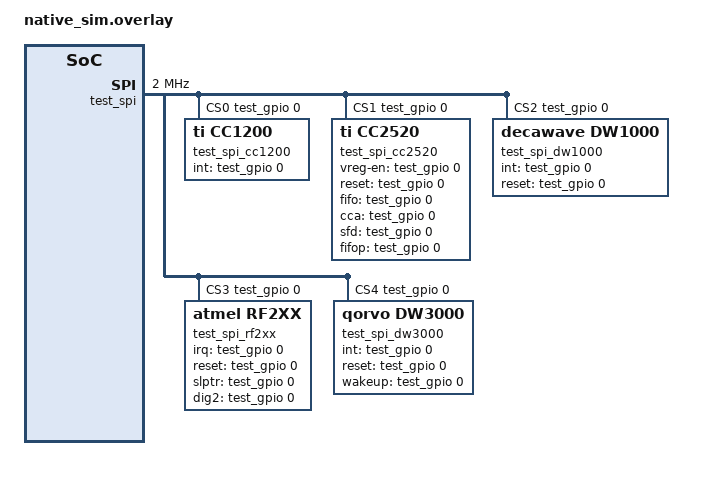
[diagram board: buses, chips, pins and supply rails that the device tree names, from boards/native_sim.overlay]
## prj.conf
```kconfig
CONFIG_TEST=y
CONFIG_TEST_USERSPACE=y
CONFIG_LOG=y
CONFIG_GPIO=y
CONFIG_SPI=y
CONFIG_IEEE802154=y

CONFIG_NETWORKING=y
CONFIG_NET_L2_IEEE802154=y
CONFIG_NET_L2_IEEE802154_SECURITY=y
```

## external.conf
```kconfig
CONFIG_IEEE802154_CC1200=y
CONFIG_IEEE802154_CC2520=y
CONFIG_IEEE802154_CC2520_CRYPTO=y
CONFIG_IEEE802154_DW1000=y
CONFIG_IEEE802154_RF2XX=y
```

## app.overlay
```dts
/*
 * Copyright (c) 2021, Commonwealth Scientific and Industrial Research
 * Organisation (CSIRO) ABN 41 687 119 230.
 *
 * SPDX-License-Identifier: Apache-2.0
 *
 * Application overlay for testing driver builds
 *
 * Names in this file should be chosen in a way that won't conflict
 * with real-world devicetree nodes, to allow these tests to run on
 * (and be extended to test) real hardware.
 */

/ {
	test {
		#address-cells = <1>;
		#size-cells = <1>;

		test_gpio: gpio@deadbeef {
			compatible = "vnd,gpio";
			gpio-controller;
			reg = <0xdeadbeef 0x1000>;
			#gpio-cells = <0x2>;
			status = "okay";
		};

		test_spi: spi@33334444 {
			#address-cells = <1>;
			#size-cells = <0>;
			compatible = "vnd,spi";
			reg = <0x33334444 0x1000>;
			status = "okay";
			clock-frequency = <2000000>;

			/* one entry for every devices at spi.dtsi */
			cs-gpios = <&test_gpio 0 0>,	/* 0x00 */
				   <&test_gpio 0 0>,
				   <&test_gpio 0 0>,
				   <&test_gpio 0 0>,
				   <&test_gpio 0 0>,
				   <&test_gpio 0 0>,
				   <&test_gpio 0 0>,
				   <&test_gpio 0 0>,
				   <&test_gpio 0 0>,
				   <&test_gpio 0 0>,
				   <&test_gpio 0 0>,
				   <&test_gpio 0 0>,
				   <&test_gpio 0 0>,
				   <&test_gpio 0 0>,
				   <&test_gpio 0 0>,
				   <&test_gpio 0 0>,
				   <&test_gpio 0 0>,	/* 0x10 */
				   <&test_gpio 0 0>,
				   <&test_gpio 0 0>,
				   <&test_gpio 0 0>,
				   <&test_gpio 0 0>,
				   <&test_gpio 0 0>,
				   <&test_gpio 0 0>,
				   <&test_gpio 0 0>,
				   <&test_gpio 0 0>,
				   <&test_gpio 0 0>,
				   <&test_gpio 0 0>,
				   <&test_gpio 0 0>,
				   <&test_gpio 0 0>,
				   <&test_gpio 0 0>,
				   <&test_gpio 0 0>,
				   <&test_gpio 0 0>,
				   <&test_gpio 0 0>,	/* 0x20 */
				   <&test_gpio 0 0>,
				   <&test_gpio 0 0>,
				   <&test_gpio 0 0>,
				   <&test_gpio 0 0>,
				   <&test_gpio 0 0>,
				   <&test_gpio 0 0>,
				   <&test_gpio 0 0>,
				   <&test_gpio 0 0>,
				   <&test_gpio 0 0>,
				   <&test_gpio 0 0>,
				   <&test_gpio 0 0>,
				   <&test_gpio 0 0>,
				   <&test_gpio 0 0>,
				   <&test_gpio 0 0>,
				   <&test_gpio 0 0>,
				   <&test_gpio 0 0>,	/* 0x30 */
				   <&test_gpio 0 0>,
				   <&test_gpio 0 0>,
				   <&test_gpio 0 0>,
				   <&test_gpio 0 0>,
				   <&test_gpio 0 0>,
				   <&test_gpio 0 0>,
				   <&test_gpio 0 0>,
				   <&test_gpio 0 0>,
				   <&test_gpio 0 0>,
				   <&test_gpio 0 0>,
				   <&test_gpio 0 0>,
				   <&test_gpio 0 0>,
				   <&test_gpio 0 0>,
				   <&test_gpio 0 0>,
				   <&test_gpio 0 0>,
				   <&test_gpio 0 0>;	/* 0x40 */

			#include "spi.dtsi"
		};
	};
};

/* Put device specific modifications to properties or disabling of devices
 * here to keep the bus specific dtsi files (i2c.dtsi, spi.dtsi, etc..)
 * pristine
 */
```

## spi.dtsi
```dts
/*
 * Copyright (c) 2021, Commonwealth Scientific and Industrial Research
 * Organisation (CSIRO) ABN 41 687 119 230.
 *
 * SPDX-License-Identifier: Apache-2.0
 *
 * Application overlay for spi devices
 */

test_spi_cc1200: cc1200@0 {
	compatible = "ti,cc1200";
	reg = <0x0>;
	spi-max-frequency = <0>;
	int-gpios = <&test_gpio 0 0>;
	status= "okay";
};

test_spi_cc2520: cc2520@1 {
	compatible = "ti,cc2520";
	reg = <0x1>;
	spi-max-frequency = <0>;
	vreg-en-gpios = <&test_gpio 0 0>;
	reset-gpios = <&test_gpio 0 0>;
	fifo-gpios = <&test_gpio 0 0>;
	cca-gpios = <&test_gpio 0 0>;
	sfd-gpios = <&test_gpio 0 0>;
	fifop-gpios = <&test_gpio 0 0>;
	status= "okay";
};

test_spi_dw1000: dw1000@2 {
	compatible = "decawave,dw1000";
	reg = <0x2>;
	spi-max-frequency = <0>;
	int-gpios = <&test_gpio 0 0>;
	reset-gpios =<&test_gpio 0 0>;
	status= "okay";
};

test_spi_rf2xx: rf2xx@4 {
	compatible = "atmel,rf2xx";
	reg = <0x4>;
	spi-max-frequency = <0>;
	irq-gpios = <&test_gpio 0 0>;
	reset-gpios = <&test_gpio 0 0>;
	slptr-gpios = <&test_gpio 0 0>;
	dig2-gpios = <&test_gpio 0 0>;
	status = "okay";
};
```

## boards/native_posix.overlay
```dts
/*
 * Copyright (c) 2021, Commonwealth Scientific and Industrial Research
 * Organisation (CSIRO) ABN 41 687 119 230.
 *
 * SPDX-License-Identifier: Apache-2.0
 */

/ {
	test {
		#address-cells = <1>;
		#size-cells = <1>;

		test_gpio: gpio@deadbeef {
			compatible = "vnd,gpio";
			gpio-controller;
			reg = <0xdeadbeef 0x1000>;
			#gpio-cells = <0x2>;
			status = "okay";
		};

		test_spi: spi@33334444 {
			#address-cells = <1>;
			#size-cells = <0>;
			compatible = "vnd,spi";
			reg = <0x33334444 0x1000>;
			status = "okay";
			clock-frequency = <2000000>;

			/* one entry for every SPI device */
			cs-gpios = <&test_gpio 0 0>,
				   <&test_gpio 0 0>,
				   <&test_gpio 0 0>,
				   <&test_gpio 0 0>;

			test_spi_cc1200: cc1200@0 {
				compatible = "ti,cc1200";
				reg = <0x0>;
				spi-max-frequency = <0>;
				int-gpios = <&test_gpio 0 0>;
				status= "okay";
			};

			test_spi_cc2520: cc2520@1 {
				compatible = "ti,cc2520";
				reg = <0x1>;
				spi-max-frequency = <0>;
				vreg-en-gpios = <&test_gpio 0 0>;
				reset-gpios = <&test_gpio 0 0>;
				fifo-gpios = <&test_gpio 0 0>;
				cca-gpios = <&test_gpio 0 0>;
				sfd-gpios = <&test_gpio 0 0>;
				fifop-gpios = <&test_gpio 0 0>;
				status= "okay";

				crypto {
					compatible = "ti,cc2520-crypto";
					status= "okay";
				};
			};

			test_spi_dw1000: dw1000@2 {
				compatible = "decawave,dw1000";
				reg = <0x2>;
				spi-max-frequency = <0>;
				int-gpios = <&test_gpio 0 0>;
				reset-gpios =<&test_gpio 0 0>;
				status= "okay";
			};

			test_spi_rf2xx: rf2xx@3 {
				compatible = "atmel,rf2xx";
				reg = <0x3>;
				spi-max-frequency = <0>;
				irq-gpios = <&test_gpio 0 0>;
				reset-gpios = <&test_gpio 0 0>;
				slptr-gpios = <&test_gpio 0 0>;
				dig2-gpios = <&test_gpio 0 0>;
				status = "okay";
			};
		};
	};
};
```

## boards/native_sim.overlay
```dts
/*
 * Copyright (c) 2021, Commonwealth Scientific and Industrial Research
 * Organisation (CSIRO) ABN 41 687 119 230.
 *
 * SPDX-License-Identifier: Apache-2.0
 */

/ {
	test {
		#address-cells = <1>;
		#size-cells = <1>;

		test_spi: spi@33334444 {
			compatible = "vnd,spi";
			reg = <0x33334444 0x1000>;
			#address-cells = <1>;
			#size-cells = <0>;
			clock-frequency = <2000000>;

			/* one entry for every SPI device */
			cs-gpios = <&test_gpio 0 0>,
				   <&test_gpio 0 0>,
				   <&test_gpio 0 0>,
				   <&test_gpio 0 0>,
				   <&test_gpio 0 0>;
			status = "okay";

			test_spi_cc1200: cc1200@0 {
				compatible = "ti,cc1200";
				reg = <0x0>;
				spi-max-frequency = <0>;
				int-gpios = <&test_gpio 0 0>;
				status = "okay";
			};

			test_spi_cc2520: cc2520@1 {
				compatible = "ti,cc2520";
				reg = <0x1>;
				spi-max-frequency = <0>;
				vreg-en-gpios = <&test_gpio 0 0>;
				reset-gpios = <&test_gpio 0 0>;
				fifo-gpios = <&test_gpio 0 0>;
				cca-gpios = <&test_gpio 0 0>;
				sfd-gpios = <&test_gpio 0 0>;
				fifop-gpios = <&test_gpio 0 0>;
				status = "okay";

				crypto {
					compatible = "ti,cc2520-crypto";
					status = "okay";
				};
			};

			test_spi_dw1000: dw1000@2 {
				compatible = "decawave,dw1000";
				reg = <0x2>;
				spi-max-frequency = <0>;
				int-gpios = <&test_gpio 0 0>;
				reset-gpios = <&test_gpio 0 0>;
				status = "okay";
			};

			test_spi_rf2xx: rf2xx@3 {
				compatible = "atmel,rf2xx";
				reg = <0x3>;
				spi-max-frequency = <0>;
				irq-gpios = <&test_gpio 0 0>;
				reset-gpios = <&test_gpio 0 0>;
				slptr-gpios = <&test_gpio 0 0>;
				dig2-gpios = <&test_gpio 0 0>;
				status = "okay";
			};

			test_spi_dw3000: dw3000@4 {
				compatible = "qorvo,dw3000";
				reg = <0x4>;
				spi-max-frequency = <0>;
				int-gpios = <&test_gpio 0 0>;
				reset-gpios = <&test_gpio 0 0>;
				wakeup-gpios = <&test_gpio 0 0>;
				status = "okay";
			};
		};

		test_gpio: gpio@deadbeef {
			compatible = "vnd,gpio";
			reg = <0xdeadbeef 0x1000>;
			gpio-controller;
			#gpio-cells = <0x2>;
			status = "okay";
		};
	};
};
```

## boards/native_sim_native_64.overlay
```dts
/*
 * Copyright (c) 2024 TOKITA Hiroshi
 * SPDX-License-Identifier: Apache-2.0
 */

#include "native_sim.overlay"
```

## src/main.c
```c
/*
 * Copyright (c) 2021, Commonwealth Scientific and Industrial Research
 * Organisation (CSIRO) ABN 41 687 119 230.
 *
 * SPDX-License-Identifier: Apache-2.0
 */

int main(void)
{
	return 0;
}
```
